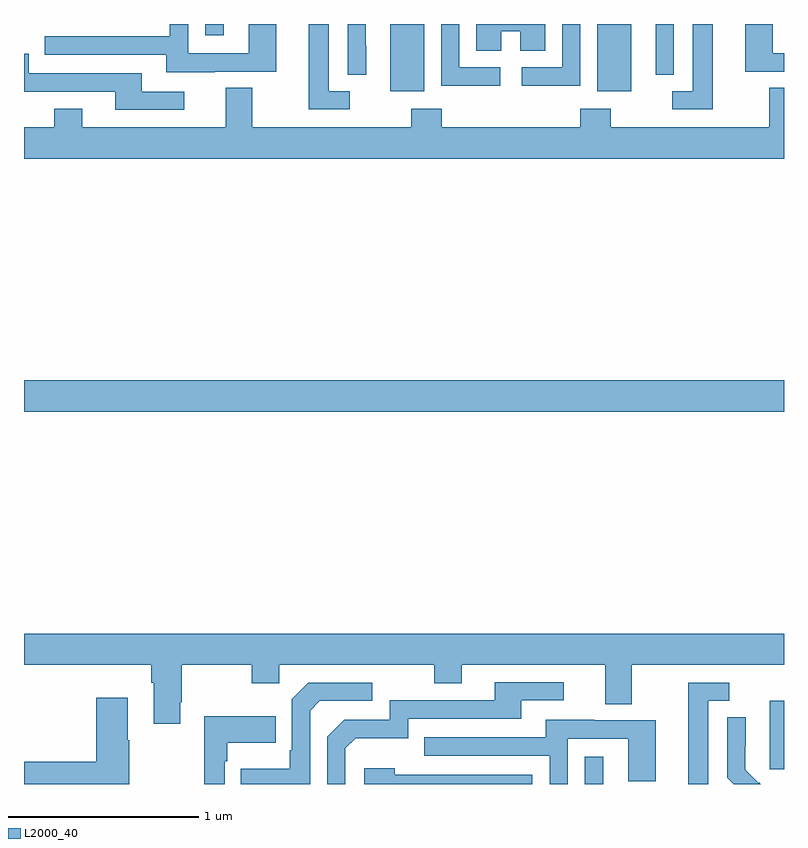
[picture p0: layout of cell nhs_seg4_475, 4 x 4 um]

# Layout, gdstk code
import gdstk
lib = gdstk.Library(unit=1e-6, precision=1e-09)
def R(c, l, rs):  # rectangles x0, y0, x1, y1
    for r in rs: c.add(gdstk.rectangle(r[:2], r[2:], *l))
def P(c, l, *ps):  # polygons
    for p in ps: c.add(gdstk.Polygon(p, *l))
L2000_40 = (2000, 40)

nhs_seg4_475 = lib.new_cell('nhs_seg4_475')
R(nhs_seg4_475, L2000_40, [(137.952,754.9,138.049,755.044), (138.926,754.977,139,755.338), (135,756.86,139,757.024), (136.928,758.546,137.107,758.9), (138.017,758.546,138.196,758.9), (135.954,758.841,136.051,758.9)])
P(nhs_seg4_475, L2000_40, [(137.506,758.673),(137.292,758.673),(137.292,758.9),(137.196,758.9),(137.196,758.575),(137.506,758.575)],
  [(137.512,758.861),(137.612,758.861),(137.612,758.758),(137.743,758.758),(137.743,758.9),(137.381,758.9),(137.381,758.758),(137.512,758.758)],
  [(139,758.745),(138.942,758.745),(138.942,758.9),(138.797,758.9),(138.797,758.649),(139,758.649)],
  [(138.625,758.9),(138.521,758.9),(138.521,758.547),(138.411,758.547),(138.411,758.451),(138.625,758.451)],
  [(136.714,758.547),(136.603,758.547),(136.603,758.9),(136.499,758.9),(136.499,758.451),(136.714,758.451)],
  [(136.003,758.649),(136.327,758.649),(136.327,758.9),(136.182,758.9),(136.182,758.745),(135.864,758.745),(135.864,758.9),(135.768,758.9),(135.768,758.835),(135.109,758.835),(135.109,758.739),(135.749,758.739),(135.749,758.645),(136.003,758.645)],
  [(136.8,758.786),(136.799,758.786),(136.799,758.9),(136.704,758.9),(136.704,758.632),(136.8,758.632)],
  [(137.928,758.9),(137.832,758.9),(137.832,758.673),(137.619,758.673),(137.619,758.575),(137.928,758.575)],
  [(138.42,758.9),(138.326,758.9),(138.326,758.786),(138.324,758.786),(138.324,758.632),(138.42,758.632)],
  [(135.844,758.544),(135.619,758.544),(135.619,758.64),(135.024,758.64),(135.024,758.743),(135,758.743),(135,758.544),(135.479,758.544),(135.479,758.448),(135.844,758.448)],
  [(139,758.564),(138.923,758.564),(138.923,758.356),(138.087,758.356),(138.087,758.455),(137.927,758.455),(137.927,758.356),(137.198,758.356),(137.198,758.455),(137.038,758.455),(137.038,758.356),(136.201,758.356),(136.201,758.564),(136.061,758.564),(136.061,758.356),(135.307,758.356),(135.307,758.455),(135.16,758.455),(135.16,758.356),(135,758.356),(135,758.192),(139,758.192)],
  [(135.823,755.329),(135.831,755.329),(135.831,755.528),(136.198,755.528),(136.198,755.429),(136.344,755.429),(136.344,755.528),(137.158,755.528),(137.158,755.429),(137.305,755.429),(137.305,755.528),(138.059,755.528),(138.059,755.32),(138.199,755.32),(138.199,755.528),(139,755.528),(139,755.692),(135,755.692),(135,755.528),(135.671,755.528),(135.671,755.432),(135.683,755.432),(135.683,755.217),(135.823,755.217)],
  [(136.692,755.088),(136.745,755.141),(137.022,755.141),(137.022,755.244),(137.617,755.244),(137.617,755.34),(137.842,755.34),(137.842,755.436),(137.477,755.436),(137.477,755.34),(136.926,755.34),(136.926,755.238),(136.686,755.238),(136.596,755.148),(136.596,754.9),(136.692,754.9)],
  [(136.506,755.286),(136.557,755.337),(136.834,755.337),(136.834,755.433),(136.497,755.433),(136.41,755.346),(136.41,755.077),(136.398,755.077),(136.398,754.981),(136.141,754.981),(136.141,754.9),(136.506,754.9)],
  [(138.601,755.337),(138.712,755.337),(138.712,755.433),(138.497,755.433),(138.497,754.9),(138.601,754.9)],
  [(135.555,755.129),(135.547,755.129),(135.547,755.353),(135.38,755.353),(135.38,755.018),(135,755.018),(135,754.9),(135.555,754.9)],
  [(136.056,755.021),(136.069,755.021),(136.069,755.117),(136.325,755.117),(136.325,755.257),(135.948,755.257),(135.948,754.9),(136.056,754.9)],
  [(138.87,754.908),(138.867,754.905),(138.797,754.976),(138.797,755.098),(138.798,755.098),(138.798,755.252),(138.702,755.252),(138.702,754.934),(138.736,754.9),(138.878,754.9)],
  [(137.862,755.139),(138.18,755.139),(138.18,754.915),(138.325,754.915),(138.325,755.235),(138.001,755.235),(138.001,755.239),(137.747,755.239),(137.747,755.145),(137.107,755.145),(137.107,755.049),(137.766,755.049),(137.766,754.9),(137.862,754.9)],
  [(137.676,754.95),(136.952,754.95),(136.952,754.984),(136.791,754.984),(136.791,754.9),(137.676,754.9)])

lib.write_gds('nhs_seg4_475.gds')
